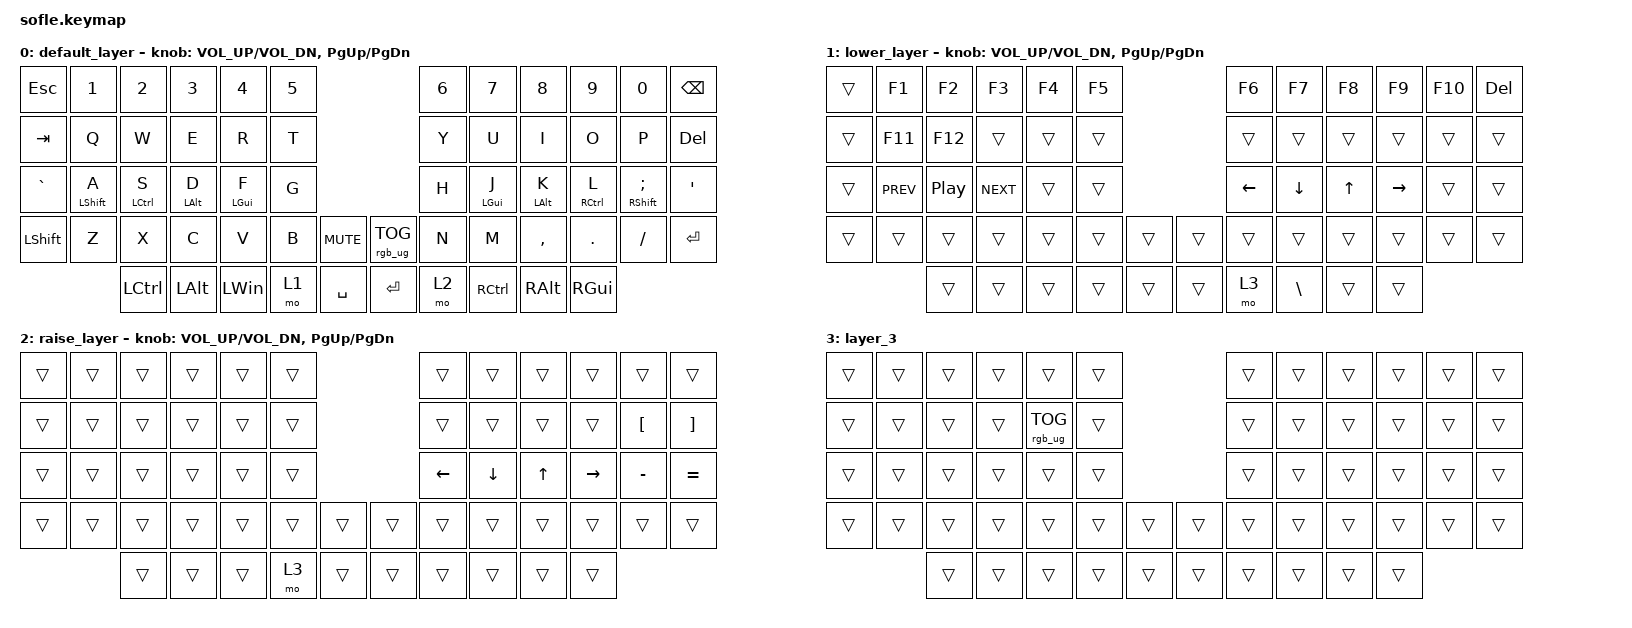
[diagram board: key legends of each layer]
/*
 * Copyright (c) 2020 The ZMK Contributors
 *
 * SPDX-License-Identifier: MIT
 */

#include <behaviors.dtsi>
#include <dt-bindings/zmk/keys.h>
#include <dt-bindings/zmk/rgb.h>

&mt { flavor = "balanced"; };

/ {
    keymap {
        compatible = "zmk,keymap";

        default_layer {
            // ------------------------------------------------------------------------------------------------------------
            // |  `    |  1  |  2  |  3   |  4   |  5   |                         |  6   |  7    |  8    |  9   |   0   |       |
            // |  ESC  |  Q  |  W  |  E   |  R   |  T   |                         |  Y   |  U    |  I    |  O   |   P   | BKSPC |
            // |  TAB  |  A  |  S  |  D   |  F   |  G   |                         |  H   |  J    |  K    |  L   |   ;   |   '   |
            // | SHIFT |  Z  |  X  |  C   |  V   |  B   |  MUTE  |        | ExtPw |  N   |  M    |  ,    |  .   |   /   | SHIFT |
            //               | GUI | ALT  | CTRL | LOWER|  ENTER |        | SPACE | RAISE| CTRL  | ALT   | GUI  |

            bindings = <
&kp ESCAPE  &kp N1            &kp N2              &kp N3          &kp N4          &kp N5                                 &kp N6  &kp N7          &kp N8          &kp N9               &kp N0                     &kp BACKSPACE
&kp TAB     &kp Q             &kp W               &kp E           &kp R           &kp T                                  &kp Y   &kp U           &kp I           &kp O                &kp P                      &kp DEL
&kp GRAVE   &mt LEFT_SHIFT A  &mt LEFT_CONTROL S  &mt LEFT_ALT D  &mt LEFT_GUI F  &kp G                                  &kp H   &mt LEFT_GUI J  &mt LEFT_ALT K  &mt RIGHT_CONTROL L  &mt RIGHT_SHIFT SEMICOLON  &kp SQT
&kp LSHFT   &kp Z             &kp X               &kp C           &kp V           &kp B   &kp C_MUTE    &rgb_ug RGB_TOG  &kp N   &kp M           &kp COMMA       &kp DOT              &kp FSLH                   &kp ENTER
                              &kp LEFT_CONTROL    &kp LEFT_ALT    &kp LEFT_WIN    &mo 1   &kp SPACE     &kp ENTER        &mo 2   &kp RCTRL       &kp RALT        &kp RGUI
            >;

            sensor-bindings =
                <&inc_dec_kp C_VOL_UP C_VOL_DN>,
                <&inc_dec_kp PAGE_UP PAGE_DOWN>;
        };

        lower_layer {
            // TODO: Some binds are waiting for shifted keycode support.
            // ------------------------------------------------------------------------------------------------------------
            // |       |  F1 |  F2 |  F3  |  F4  |  F5  |                   |  F6  |  F7   |  F8   |  F9  |  F10  |  F11  |
            // | `     |   1 |   2 |   3  |   4  |   5  |                   |   6  |   7   |   8   |   9  |    0  |  F12  |
            // |       |  !  |  @  |  #   |  $   |  %   |                   |  ^   |  &    |  *    |  (   |   )   |   |   |
            // |       |  =  |  -  |  +   |  {   |  }   |        |  |       |  [   |  ]    |  ;    |  :   |   \   |       |
            //               |     |      |      |      |        |  |       |      |       |       |      |

            bindings = <
&trans  &kp F1      &kp F2            &kp F3      &kp F4  &kp F5                    &kp F6          &kp F7         &kp F8        &kp F9     &kp F10  &kp DELETE
&trans  &kp F11     &kp F12           &trans      &trans  &trans                    &trans          &trans         &trans        &trans     &trans   &trans
&trans  &kp C_PREV  &kp C_PLAY_PAUSE  &kp C_NEXT  &trans  &trans                    &kp LEFT_ARROW  &kp DOWN       &kp UP_ARROW  &kp RIGHT  &trans   &trans
&trans  &trans      &trans            &trans      &trans  &trans  &trans    &trans  &trans          &trans         &trans        &trans     &trans   &trans
                    &trans            &trans      &trans  &trans  &trans    &trans  &mo 3           &kp BACKSLASH  &trans        &trans
            >;

            sensor-bindings = <&inc_dec_kp C_VOL_UP C_VOL_DN &inc_dec_kp PG_UP PG_DN>;
        };

        raise_layer {
            // ------------------------------------------------------------------------------------------------------------
            // |BTCLR| BT1  | BT2  |  BT3  |  BT4  |  BT5 |                |      |      |       |      |       |       |
            // |     | INS  | PSCR | GUI   |       |      |                | PGUP |      |   ^   |      |       |       |
            // |     | ALT  | CTRL | SHIFT |       | CAPS |                | PGDN |   <- |   v   |  ->  |  DEL  | BKSPC |
            // |     | UNDO | CUT  | COPY  | PASTE |      |      |  |      |      |      |       |      |       |       |
            //              |      |       |       |      |      |  |      |      |      |       |      |

            bindings = <
&trans  &trans  &trans  &trans  &trans  &trans                    &trans          &trans          &trans        &trans     &trans            &trans
&trans  &trans  &trans  &trans  &trans  &trans                    &trans          &trans          &trans        &trans     &kp LEFT_BRACKET  &kp RIGHT_BRACKET
&trans  &trans  &trans  &trans  &trans  &trans                    &kp LEFT_ARROW  &kp DOWN_ARROW  &kp UP_ARROW  &kp RIGHT  &kp MINUS         &kp EQUAL
&trans  &trans  &trans  &trans  &trans  &trans  &trans    &trans  &trans          &trans          &trans        &trans     &trans            &trans
                &trans  &trans  &trans  &mo 3   &trans    &trans  &trans          &trans          &trans        &trans
            >;

            sensor-bindings = <&inc_dec_kp C_VOL_UP C_VOL_DN &inc_dec_kp PG_UP PG_DN>;
        };

        layer_3 {
            bindings = <
&trans  &trans  &trans  &trans  &trans           &trans                    &trans  &trans  &trans  &trans  &trans  &trans
&trans  &trans  &trans  &trans  &rgb_ug RGB_TOG  &trans                    &trans  &trans  &trans  &trans  &trans  &trans
&trans  &trans  &trans  &trans  &trans           &trans                    &trans  &trans  &trans  &trans  &trans  &trans
&trans  &trans  &trans  &trans  &trans           &trans  &trans    &trans  &trans  &trans  &trans  &trans  &trans  &trans
                &trans  &trans  &trans           &trans  &trans    &trans  &trans  &trans  &trans  &trans
            >;
        };
    };
};
